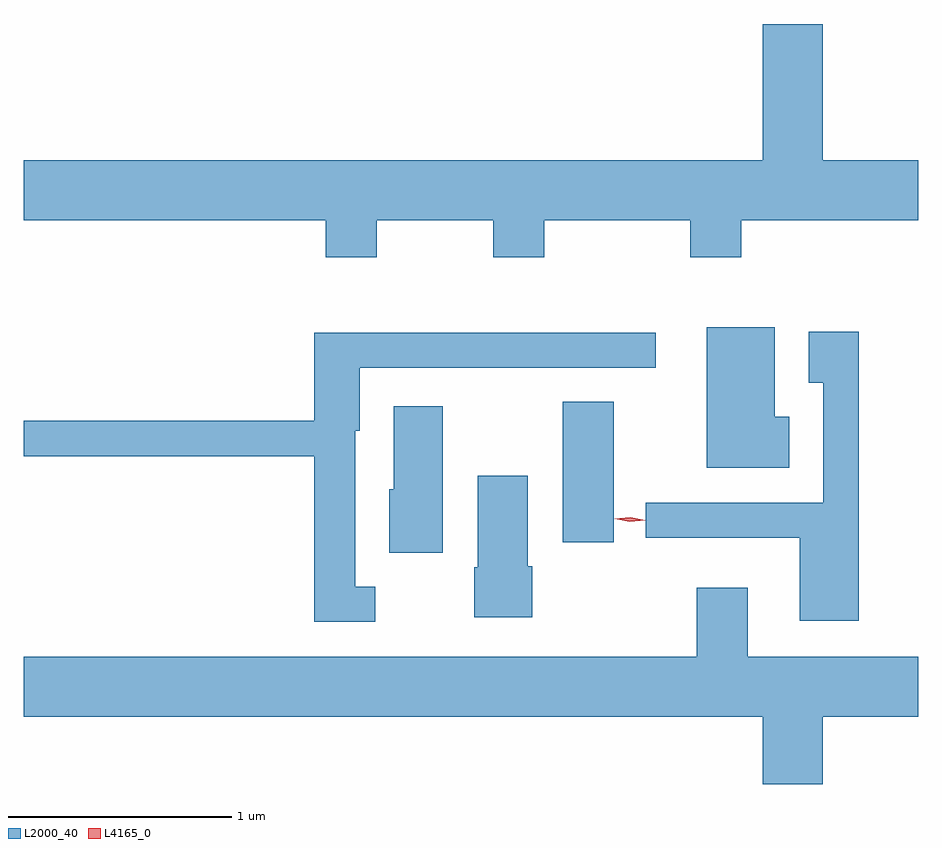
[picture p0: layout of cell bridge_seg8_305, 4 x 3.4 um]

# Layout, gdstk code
import gdstk
lib = gdstk.Library(unit=1e-6, precision=1e-09)
def R(c, l, rs):  # rectangles x0, y0, x1, y1
    for r in rs: c.add(gdstk.rectangle(r[:2], r[2:], *l))
def P(c, l, *ps):  # polygons
    for p in ps: c.add(gdstk.Polygon(p, *l))
L2000_40 = (2000, 40)
L4165_0 = (4165, 0)

bridge_seg8_305 = lib.new_cell('bridge_seg8_305')
R(bridge_seg8_305, L2000_40, [(1033.361,1877.156,1033.589,1877.784)])
P(bridge_seg8_305, L2000_40, [(1032.529,1878.596),(1033.051,1878.596),(1033.051,1878.431),(1033.279,1878.431),(1033.279,1878.596),(1033.931,1878.596),(1033.931,1878.431),(1034.159,1878.431),(1034.159,1878.596),(1034.951,1878.596),(1034.951,1878.864),(1034.524,1878.864),(1034.524,1879.474),(1034.256,1879.474),(1034.256,1878.864),(1030.951,1878.864),(1030.951,1878.596),(1032.301,1878.596),(1032.301,1878.431),(1032.529,1878.431)],
  [(1034.374,1877.719),(1034.309,1877.719),(1034.309,1878.119),(1034.006,1878.119),(1034.006,1877.491),(1034.374,1877.491)],
  [(1034.684,1878.099),(1034.461,1878.099),(1034.461,1877.871),(1034.526,1877.871),(1034.526,1877.334),(1033.733,1877.334),(1033.733,1877.176),(1034.421,1877.176),(1034.421,1876.806),(1034.684,1876.806)],
  [(1032.523,1876.959),(1032.434,1876.959),(1032.434,1877.656),(1032.454,1877.656),(1032.454,1877.936),(1033.777,1877.936),(1033.777,1878.094),(1032.251,1878.094),(1032.251,1877.699),(1030.951,1877.699),(1030.951,1877.541),(1032.251,1877.541),(1032.251,1876.801),(1032.523,1876.801)],
  [(1032.824,1877.764),(1032.606,1877.764),(1032.606,1877.394),(1032.586,1877.394),(1032.586,1877.111),(1032.824,1877.111)],
  [(1033.224,1877.049),(1033.204,1877.049),(1033.204,1877.454),(1032.981,1877.454),(1032.981,1877.045),(1032.966,1877.045),(1032.966,1876.821),(1033.224,1876.821)],
  [(1034.524,1876.376),(1034.951,1876.376),(1034.951,1876.644),(1034.189,1876.644),(1034.189,1876.954),(1033.961,1876.954),(1033.961,1876.644),(1030.951,1876.644),(1030.951,1876.376),(1034.256,1876.376),(1034.256,1876.076),(1034.524,1876.076)])
P(bridge_seg8_305, L4165_0, [(1033.661,1877.248),(1033.593,1877.261),(1033.592,1877.261),(1033.593,1877.262),(1033.662,1877.268),(1033.729,1877.256),(1033.73,1877.255),(1033.729,1877.255)])

lib.write_gds('bridge_seg8_305.gds')
